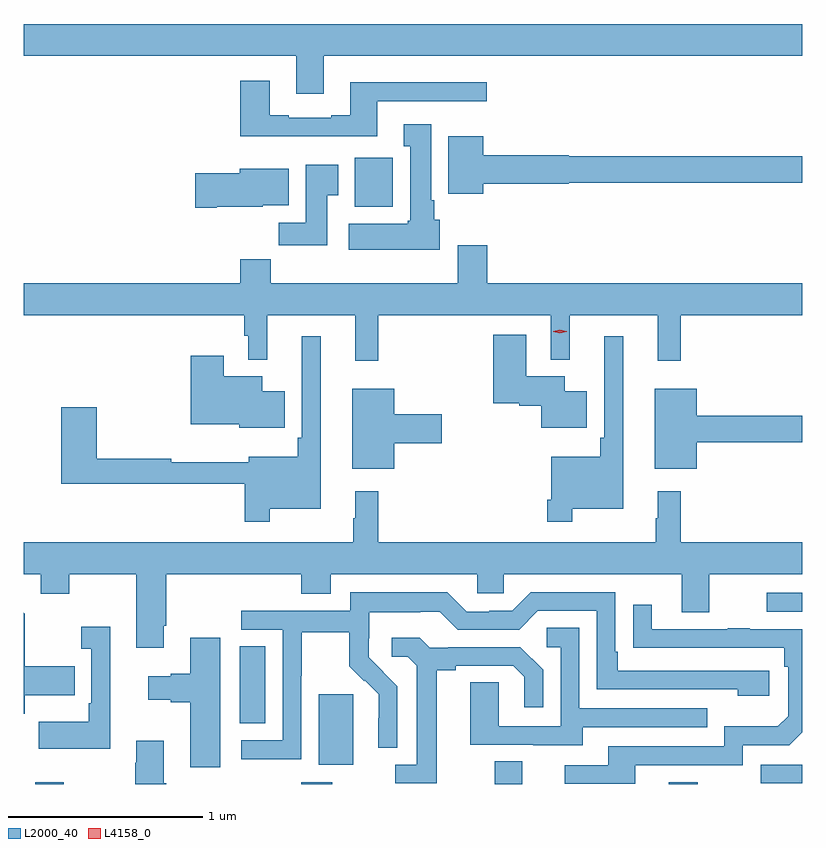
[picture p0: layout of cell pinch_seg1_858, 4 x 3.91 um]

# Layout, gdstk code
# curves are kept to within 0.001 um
import gdstk
lib = gdstk.Library(unit=1e-6, precision=1e-09)
def R(c, l, rs):  # rectangles x0, y0, x1, y1
    for r in rs: c.add(gdstk.rectangle(r[:2], r[2:], *l))
def P(c, l, *ps):  # polygons
    for p in ps: c.add(gdstk.Polygon(p, *l))
L2000_40 = (2000, 40)
L4158_0 = (4158, 0)

pinch_seg1_858 = lib.new_cell('pinch_seg1_858')
R(pinch_seg1_858, L2000_40, [(616.302,534.671,616.449,534.679), (617.669,534.671,617.829,534.679), (618.665,534.671,618.805,534.788), (619.559,534.671,619.707,534.679), (620.031,534.675,620.244,534.771), (617.759,534.77,617.938,535.131), (617.354,534.982,617.485,535.379), (620.061,535.557,620.244,535.653), (617.945,537.638,618.141,537.889)])
P(pinch_seg1_858, L2000_40, [(617.785,538.412),(620.244,538.412),(620.244,538.576),(616.244,538.576),(616.244,538.412),(617.645,538.412),(617.645,538.218),(617.785,538.218)],
  [(618.061,538.179),(618.622,538.179),(618.622,538.276),(617.921,538.276),(617.921,538.108),(617.825,538.108),(617.825,538.095),(617.605,538.095),(617.605,538.108),(617.509,538.108),(617.509,538.285),(617.357,538.285),(617.357,537.998),(618.061,537.998)],
  [(618.382,537.57),(618.352,537.57),(618.352,537.67),(618.337,537.67),(618.337,538.06),(618.197,538.06),(618.197,537.947),(618.23,537.947),(618.23,537.564),(618.217,537.564),(618.217,537.55),(617.913,537.55),(617.913,537.416),(618.382,537.416)],
  [(618.604,537.755),(619.044,537.755),(619.044,537.76),(620.244,537.76),(620.244,537.896),(619.044,537.896),(619.044,537.902),(618.604,537.902),(618.604,538),(618.425,538),(618.425,537.704),(618.604,537.704)],
  [(617.803,537.697),(617.86,537.697),(617.86,537.853),(617.693,537.853),(617.693,537.556),(617.554,537.556),(617.554,537.438),(617.803,537.438)],
  [(617.236,537.638),(617.472,537.638),(617.472,537.644),(617.605,537.644),(617.605,537.832),(617.354,537.832),(617.354,537.809),(617.124,537.809),(617.124,537.631),(617.236,537.631)],
  [(618.065,537.08),(618.951,537.08),(618.951,536.852),(619.049,536.852),(619.049,537.08),(619.502,537.08),(619.502,536.847),(619.619,536.847),(619.619,537.08),(620.244,537.08),(620.244,537.244),(618.626,537.244),(618.626,537.439),(618.473,537.439),(618.473,537.244),(617.513,537.244),(617.513,537.368),(617.357,537.368),(617.357,537.244),(616.244,537.244),(616.244,537.08),(617.377,537.08),(617.377,536.973),(617.397,536.973),(617.397,536.852),(617.495,536.852),(617.495,537.08),(617.948,537.08),(617.948,536.847),(618.065,536.847)],
  [(619.138,536.689),(619.024,536.689),(619.024,536.767),(618.826,536.767),(618.826,536.98),(618.656,536.98),(618.656,536.627),(618.789,536.627),(618.789,536.615),(618.902,536.615),(618.902,536.501),(619.138,536.501)],
  [(619.063,536.084),(619.324,536.084),(619.324,536.971),(619.227,536.971),(619.227,536.449),(619.207,536.449),(619.207,536.353),(618.954,536.353),(618.954,536.131),(618.934,536.131),(618.934,536.019),(619.063,536.019)],
  [(617.509,536.084),(617.77,536.084),(617.77,536.971),(617.673,536.971),(617.673,536.449),(617.653,536.449),(617.653,536.353),(617.399,536.353),(617.399,536.324),(617.003,536.324),(617.003,536.342),(616.619,536.342),(616.619,536.608),(616.436,536.608),(616.436,536.214),(617.38,536.214),(617.38,536.019),(617.509,536.019)],
  [(617.584,536.689),(617.47,536.689),(617.47,536.767),(617.272,536.767),(617.272,536.872),(617.102,536.872),(617.102,536.519),(617.352,536.519),(617.352,536.501),(617.584,536.501)],
  [(619.702,536.428),(620.244,536.428),(620.244,536.564),(619.702,536.564),(619.702,536.701),(619.487,536.701),(619.487,536.291),(619.702,536.291)],
  [(618.148,536.423),(618.391,536.423),(618.391,536.57),(618.148,536.57),(618.148,536.701),(617.933,536.701),(617.933,536.291),(618.148,536.291)],
  [(616.963,535.483),(616.976,535.483),(616.976,535.748),(617.669,535.748),(617.669,535.649),(617.821,535.649),(617.821,535.748),(618.573,535.748),(618.573,535.65),(618.711,535.65),(618.711,535.748),(619.625,535.748),(619.625,535.554),(619.765,535.554),(619.765,535.748),(620.244,535.748),(620.244,535.912),(619.619,535.912),(619.619,536.176),(619.502,536.176),(619.502,536.036),(619.491,536.036),(619.491,535.912),(618.065,535.912),(618.065,536.176),(617.948,536.176),(617.948,536.036),(617.937,536.036),(617.937,535.912),(616.244,535.912),(616.244,535.748),(616.331,535.748),(616.331,535.649),(616.479,535.649),(616.479,535.748),(616.823,535.748),(616.823,535.371),(616.963,535.371)],
  [(617.67,535.228),(617.673,535.228),(617.673,535.452),(617.917,535.452),(617.917,535.277),(617.994,535.2),(617.997,535.203),(618.068,535.133),(618.068,535.01),(618.066,535.01),(618.066,534.856),(618.162,534.856),(618.162,535.174),(618.016,535.322),(618.016,535.419),(618.018,535.419),(618.018,535.553),(618.281,535.553),(618.281,535.557),(618.381,535.557),(618.474,535.464),(618.789,535.464),(618.885,535.56),(619.188,535.56),(619.188,535.158),(619.913,535.158),(619.913,535.124),(620.074,535.124),(620.074,535.254),(619.297,535.254),(619.297,535.351),(619.284,535.351),(619.284,535.656),(618.849,535.656),(618.753,535.56),(618.635,535.56),(618.635,535.557),(618.519,535.557),(618.419,535.657),(617.922,535.657),(617.922,535.56),(617.361,535.56),(617.361,535.464),(617.574,535.464),(617.574,534.897),(617.361,534.897),(617.361,534.799),(617.67,534.799)],
  [(619.387,534.768),(619.938,534.768),(619.938,534.87),(620.178,534.87),(620.244,534.936),(620.244,535.467),(619.973,535.467),(619.973,535.472),(619.861,535.472),(619.861,535.467),(619.471,535.467),(619.471,535.591),(619.375,535.591),(619.375,535.372),(620.152,535.371),(620.152,535.274),(620.172,535.274),(620.172,535.02),(620.119,534.967),(619.842,534.967),(619.842,534.864),(619.247,534.864),(619.247,534.768),(619.023,534.768),(619.023,534.672),(619.387,534.672)],
  [(616.249,535.127),(616.505,535.127),(616.505,535.275),(616.249,535.275),(616.249,535.547),(616.244,535.552),(616.244,535.031),(616.249,535.031)],
  [(616.688,535.48),(616.539,535.48),(616.539,535.367),(616.59,535.367),(616.59,535.087),(616.578,535.087),(616.578,534.991),(616.321,534.991),(616.321,534.851),(616.688,534.851)],
  [(619.117,534.963),(619.757,534.963),(619.757,535.059),(619.098,535.059),(619.098,535.475),(618.93,535.475),(618.93,535.374),(619.002,535.374),(619.002,534.969),(618.684,534.969),(618.684,535.193),(618.539,535.193),(618.539,534.873),(618.863,534.873),(618.863,534.869),(619.117,534.869)],
  [(618.367,535.256),(618.463,535.256),(618.463,535.278),(618.758,535.278),(618.815,535.221),(618.815,535.065),(618.912,535.065),(618.912,535.258),(618.796,535.374),(618.424,535.374),(618.424,535.371),(618.33,535.371),(618.278,535.423),(618.135,535.423),(618.135,535.326),(618.216,535.326),(618.263,535.279),(618.263,534.771),(618.153,534.771),(618.153,534.675),(618.367,534.675)],
  [(617.254,535.423),(617.099,535.423),(617.099,535.238),(617,535.238),(617,535.225),(616.884,535.225),(616.884,535.103),(617,535.103),(617,535.091),(617.099,535.091),(617.099,534.756),(617.254,534.756)],
  [(616.976,534.676),(616.963,534.676),(616.963,534.892),(616.823,534.892),(616.823,534.779),(616.816,534.779),(616.816,534.671),(616.976,534.671)])
P(pinch_seg1_858, L4158_0, [(618.999,536.986),(618.964,536.996),(618.964,536.996),(618.964,536.997),(618.999,537.006),(619.035,536.997),(619.035,536.996),(619.035,536.996)])

lib.write_gds('pinch_seg1_858.gds')
